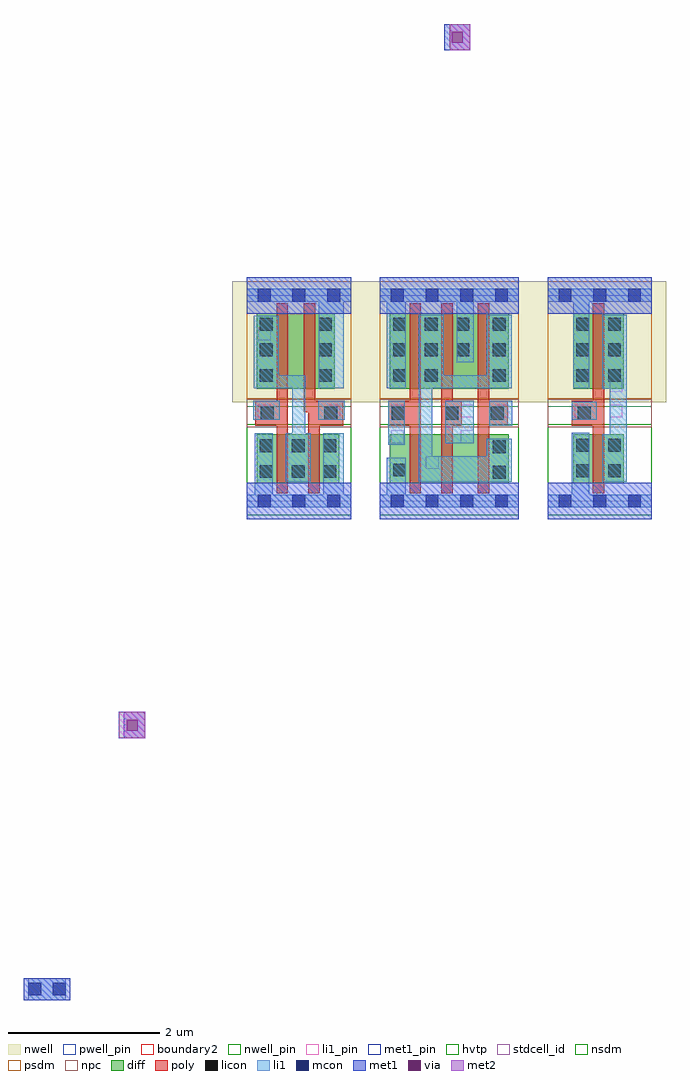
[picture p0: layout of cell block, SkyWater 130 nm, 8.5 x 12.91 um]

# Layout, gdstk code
import gdstk
lib = gdstk.Library(unit=1e-6, precision=1e-09)
def R(c, l, rs):  # rectangles x0, y0, x1, y1
    for r in rs: c.add(gdstk.rectangle(r[:2], r[2:], *l))
def A(c, l, x, y, w, h, nx, ny, dx, dy):  # array of equal rectangles
    R(c, l, [(x+i*dx, y+j*dy, x+i*dx+w, y+j*dy+h) for i in range(nx) for j in range(ny)])
def P(c, l, *ps):  # polygons
    for p in ps: c.add(gdstk.Polygon(p, *l))
nwell_pin = (64, 16)
nwell = (64, 20)
diff = (65, 20)
poly = (66, 20)
licon = (66, 44)
li1_pin = (67, 16)
li1 = (67, 20)
mcon = (67, 44)
met1_pin = (68, 16)
met1 = (68, 20)
via = (68, 44)
met2 = (69, 20)
hvtp = (78, 44)
stdcell_id = (81, 4)
nsdm = (93, 44)
psdm = (94, 20)
npc = (95, 20)
pwell_pin = (122, 16)
boundary2 = (236, 0)

sky130_fd_sc_hd__nor2_1 = lib.new_cell('sky130_fd_sc_hd__nor2_1')
R(sky130_fd_sc_hd__nor2_1, nwell_pin, [(0.15,2.635,0.32,2.805)])
R(sky130_fd_sc_hd__nor2_1, nwell, [(-0.19,1.305,1.57,2.91)])
R(sky130_fd_sc_hd__nor2_1, diff, [(0.135,0.235,1.225,0.885), (0.135,1.485,1.165,2.485)])
P(sky130_fd_sc_hd__nor2_1, poly, [(0.815,0.105),(0.815,1.175),(0.755,1.175),(0.755,2.615),(0.905,2.615),(0.905,1.325),(1.275,1.325),(1.275,0.995),(0.965,0.995),(0.965,0.105)],
  [(0.395,0.105),(0.395,0.995),(0.11,0.995),(0.11,1.325),(0.395,1.325),(0.395,2.615),(0.545,2.615),(0.545,0.105)])
A(sky130_fd_sc_hd__nor2_1, licon, 0.175, 0.305, 0.17, 0.17, 3, 2, 0.42, 0.34)
A(sky130_fd_sc_hd__nor2_1, licon, 0.175, 1.575, 0.17, 0.17, 1, 3, 0, 0.34)
A(sky130_fd_sc_hd__nor2_1, licon, 0.955, 1.575, 0.17, 0.17, 1, 3, 0, 0.34)
R(sky130_fd_sc_hd__nor2_1, licon, [(0.185,1.075,0.355,1.245), (1.025,1.075,1.195,1.245)])
R(sky130_fd_sc_hd__nor2_1, li1_pin, [(0.145,1.105,0.315,1.275), (1.065,1.105,1.235,1.275), (0.15,2.125,0.32,2.295)])
R(sky130_fd_sc_hd__nor2_1, li1, [(0.085,1.075,0.435,1.325), (0.945,1.075,1.295,1.325)])
P(sky130_fd_sc_hd__nor2_1, li1, [(0,-0.085),(0,0.085),(0.105,0.085),(0.105,0.895),(0.345,0.895),(0.345,0.085),(1.015,0.085),(1.015,0.895),(1.285,0.895),(1.285,0.085),(1.38,0.085),(1.38,-0.085)],
  [(0.955,1.495),(0.955,2.635),(0,2.635),(0,2.805),(1.38,2.805),(1.38,2.635),(1.285,2.635),(1.285,1.495)],
  [(0.515,0.255),(0.515,0.895),(0.605,0.895),(0.605,1.495),(0.095,1.495),(0.095,2.45),(0.425,2.45),(0.425,1.665),(0.775,1.665),(0.775,0.895),(0.845,0.895),(0.845,0.255)])
A(sky130_fd_sc_hd__nor2_1, mcon, 0.145, -0.085, 0.17, 0.17, 3, 2, 0.46, 2.72)
R(sky130_fd_sc_hd__nor2_1, met1_pin, [(0.15,-0.085,0.32,0.085), (0.15,2.635,0.32,2.805)])
R(sky130_fd_sc_hd__nor2_1, hvtp, [(0,1.25,1.38,2.72)])
R(sky130_fd_sc_hd__nor2_1, stdcell_id, [(0,0,1.38,2.72)])
R(sky130_fd_sc_hd__nor2_1, nsdm, [(0,-0.19,1.38,1.015)])
R(sky130_fd_sc_hd__nor2_1, psdm, [(0,1.355,1.38,2.91)])
R(sky130_fd_sc_hd__nor2_1, npc, [(0,0.975,1.38,1.345)])
R(sky130_fd_sc_hd__nor2_1, pwell_pin, [(0.15,-0.085,0.32,0.085)])
R(sky130_fd_sc_hd__nor2_1, boundary2, [(0,0,1.38,2.72)])
sky130_fd_sc_hd__nor2_1.add(gdstk.FlexPath([(0,2.72),(1.38,2.72)], 0.48, ends="flush", simple_path=True, layer=68, datatype=20))  # met1
sky130_fd_sc_hd__nor2_1.add(gdstk.FlexPath([(0,0),(1.38,0)], 0.48, ends="flush", simple_path=True, layer=68, datatype=20))  # met1
sky130_fd_sc_hd__nor2_1.add(gdstk.Label('B', (0.23,1.19), layer=67, texttype=5))
sky130_fd_sc_hd__nor2_1.add(gdstk.Label('Y', (0.235,2.21), layer=67, texttype=5))
sky130_fd_sc_hd__nor2_1.add(gdstk.Label('A', (1.15,1.19), layer=67, texttype=5))
sky130_fd_sc_hd__nor2_1.add(gdstk.Label('VPB', (0.235,2.72), layer=64, texttype=5))
sky130_fd_sc_hd__nor2_1.add(gdstk.Label('VNB', (0.235,0), layer=64, texttype=59))
sky130_fd_sc_hd__nor2_1.add(gdstk.Label('VGND', (0.23,0), layer=68, texttype=5))
sky130_fd_sc_hd__nor2_1.add(gdstk.Label('VPWR', (0.23,2.72), layer=68, texttype=5))
sky130_fd_sc_hd__nor2_1.add(gdstk.Label('nor2_1', (0,0), layer=83, texttype=44))

sky130_fd_sc_hd__nand3_1 = lib.new_cell('sky130_fd_sc_hd__nand3_1')
R(sky130_fd_sc_hd__nand3_1, nwell_pin, [(0.15,2.635,0.32,2.805)])
R(sky130_fd_sc_hd__nand3_1, nwell, [(-0.19,1.305,2.03,2.91)])
R(sky130_fd_sc_hd__nand3_1, diff, [(0.135,0.235,1.705,0.885), (0.135,1.485,1.705,2.485)])
P(sky130_fd_sc_hd__nand3_1, poly, [(1.295,0.105),(1.295,2.615),(1.445,2.615),(1.445,1.325),(1.69,1.325),(1.69,0.995),(1.445,0.995),(1.445,0.105)],
  [(0.815,0.105),(0.815,2.615),(0.965,2.615),(0.965,1.325),(1.085,1.325),(1.085,0.995),(0.965,0.995),(0.965,0.105)],
  [(0.395,0.105),(0.395,0.995),(0.11,0.995),(0.11,1.325),(0.395,1.325),(0.395,2.615),(0.545,2.615),(0.545,0.105)])
A(sky130_fd_sc_hd__nand3_1, licon, 1.495, 1.575, 0.17, 0.17, 1, 3, 0, 0.34)
A(sky130_fd_sc_hd__nand3_1, licon, 0.175, 1.915, 0.17, 0.17, 3, 2, 0.42, 0.34)
R(sky130_fd_sc_hd__nand3_1, licon, [(1.495,0.295,1.665,0.465), (0.175,0.325,0.345,0.495), (1.495,0.635,1.665,0.805), (0.16,1.075,0.33,1.245), (0.865,1.075,1.035,1.245), (1.47,1.075,1.64,1.245), (0.175,1.575,0.345,1.745), (0.595,1.575,0.765,1.745)])
R(sky130_fd_sc_hd__nand3_1, li1_pin, [(0.61,0.425,0.78,0.595), (0.15,0.765,0.32,0.935), (1.07,0.765,1.24,0.935), (0.15,1.105,0.32,1.275), (1.07,1.105,1.24,1.275), (1.53,1.105,1.7,1.275)])
R(sky130_fd_sc_hd__nand3_1, li1, [(0.11,0.745,0.33,1.325), (0.865,0.765,1.24,1.325), (1.445,0.995,1.755,1.325)])
P(sky130_fd_sc_hd__nand3_1, li1, [(0.09,1.495),(0.09,2.635),(0,2.635),(0,2.805),(1.84,2.805),(1.84,2.635),(1.245,2.635),(1.245,1.835),(1.015,1.835),(1.015,2.635),(0.345,2.635),(0.345,1.495)],
  [(0,-0.085),(0,0.085),(0.09,0.085),(0.09,0.575),(0.345,0.575),(0.345,0.085),(1.84,0.085),(1.84,-0.085)],
  [(0.515,0.255),(0.515,2.465),(0.845,2.465),(0.845,1.665),(1.415,1.665),(1.415,2.465),(1.745,2.465),(1.745,1.495),(0.695,1.495),(0.695,0.595),(1.415,0.595),(1.415,0.825),(1.745,0.825),(1.745,0.255)])
A(sky130_fd_sc_hd__nand3_1, mcon, 0.145, -0.085, 0.17, 0.17, 4, 2, 0.46, 2.72)
R(sky130_fd_sc_hd__nand3_1, met1_pin, [(0.15,-0.085,0.32,0.085), (0.15,2.635,0.32,2.805)])
R(sky130_fd_sc_hd__nand3_1, hvtp, [(0,1.25,1.84,2.72)])
R(sky130_fd_sc_hd__nand3_1, stdcell_id, [(0,0,1.84,2.72)])
R(sky130_fd_sc_hd__nand3_1, nsdm, [(0,-0.19,1.84,1.015)])
R(sky130_fd_sc_hd__nand3_1, psdm, [(0,1.355,1.84,2.91)])
R(sky130_fd_sc_hd__nand3_1, npc, [(0,0.975,1.84,1.345)])
R(sky130_fd_sc_hd__nand3_1, pwell_pin, [(0.15,-0.085,0.32,0.085)])
R(sky130_fd_sc_hd__nand3_1, boundary2, [(0,0,1.84,2.72)])
sky130_fd_sc_hd__nand3_1.add(gdstk.FlexPath([(0,2.72),(1.84,2.72)], 0.48, ends="flush", simple_path=True, layer=68, datatype=20))  # met1
sky130_fd_sc_hd__nand3_1.add(gdstk.FlexPath([(0,0),(1.84,0)], 0.48, ends="flush", simple_path=True, layer=68, datatype=20))  # met1
sky130_fd_sc_hd__nand3_1.add(gdstk.Label('Y', (0.695,0.51), layer=67, texttype=5))
sky130_fd_sc_hd__nand3_1.add(gdstk.Label('A', (1.615,1.19), layer=67, texttype=5))
sky130_fd_sc_hd__nand3_1.add(gdstk.Label('C', (0.235,1.19), layer=67, texttype=5))
sky130_fd_sc_hd__nand3_1.add(gdstk.Label('B', (1.155,1.19), layer=67, texttype=5))
sky130_fd_sc_hd__nand3_1.add(gdstk.Label('VPB', (0.235,2.72), layer=64, texttype=5))
sky130_fd_sc_hd__nand3_1.add(gdstk.Label('VNB', (0.235,0), layer=64, texttype=59))
sky130_fd_sc_hd__nand3_1.add(gdstk.Label('VGND', (0.235,0), layer=68, texttype=5))
sky130_fd_sc_hd__nand3_1.add(gdstk.Label('VPWR', (0.235,2.72), layer=68, texttype=5))
sky130_fd_sc_hd__nand3_1.add(gdstk.Label('nand3_1', (0,0), layer=83, texttype=44))

sky130_fd_sc_hd__inv_1 = lib.new_cell('sky130_fd_sc_hd__inv_1')
R(sky130_fd_sc_hd__inv_1, nwell_pin, [(0.145,2.635,0.315,2.805), (0.145,2.635,0.315,2.805)])
R(sky130_fd_sc_hd__inv_1, nwell, [(-0.19,1.305,1.57,2.91)])
R(sky130_fd_sc_hd__inv_1, diff, [(0.34,0.235,1.01,0.885), (0.34,1.485,1.01,2.485)])
P(sky130_fd_sc_hd__inv_1, poly, [(0.6,0.105),(0.6,0.995),(0.32,0.995),(0.32,1.325),(0.6,1.325),(0.6,2.615),(0.75,2.615),(0.75,0.105)])
A(sky130_fd_sc_hd__inv_1, licon, 0.38, 1.575, 0.17, 0.17, 1, 3, 0, 0.34)
A(sky130_fd_sc_hd__inv_1, licon, 0.8, 1.575, 0.17, 0.17, 1, 3, 0, 0.34)
R(sky130_fd_sc_hd__inv_1, licon, [(0.38,0.315,0.55,0.485), (0.8,0.315,0.97,0.485), (0.38,0.655,0.55,0.825), (0.8,0.655,0.97,0.825), (0.4,1.075,0.57,1.245)])
R(sky130_fd_sc_hd__inv_1, li1_pin, [(0.36,1.105,0.53,1.275), (0.82,1.105,0.99,1.275), (0.82,1.445,0.99,1.615)])
R(sky130_fd_sc_hd__inv_1, li1, [(0,-0.085,1.38,0.085), (0.32,0.005,0.55,0.905), (0.32,1.075,0.65,1.315), (0.34,1.495,0.55,2.675), (0,2.635,1.38,2.805)])
P(sky130_fd_sc_hd__inv_1, li1, [(0.72,0.255),(0.72,0.885),(0.82,0.885),(0.82,1.485),(0.72,1.485),(0.72,2.465),(1.05,2.465),(1.05,0.255)])
A(sky130_fd_sc_hd__inv_1, mcon, 0.145, -0.085, 0.17, 0.17, 3, 2, 0.46, 2.72)
R(sky130_fd_sc_hd__inv_1, met1_pin, [(0.145,-0.085,0.315,0.085), (0.145,-0.085,0.315,0.085), (0.145,2.635,0.315,2.805), (0.145,2.635,0.315,2.805)])
R(sky130_fd_sc_hd__inv_1, hvtp, [(0,1.25,1.38,2.72)])
R(sky130_fd_sc_hd__inv_1, stdcell_id, [(0,0,1.38,2.72)])
R(sky130_fd_sc_hd__inv_1, nsdm, [(0,-0.19,1.38,1.015)])
R(sky130_fd_sc_hd__inv_1, psdm, [(0,1.355,1.38,2.91)])
R(sky130_fd_sc_hd__inv_1, npc, [(0,0.975,1.38,1.345)])
R(sky130_fd_sc_hd__inv_1, pwell_pin, [(0.145,-0.085,0.315,0.085), (0.145,-0.085,0.315,0.085)])
R(sky130_fd_sc_hd__inv_1, boundary2, [(0,0,1.38,2.72)])
sky130_fd_sc_hd__inv_1.add(gdstk.FlexPath([(0,2.72),(1.38,2.72)], 0.48, ends="flush", simple_path=True, layer=68, datatype=20))  # met1
sky130_fd_sc_hd__inv_1.add(gdstk.FlexPath([(0,0),(1.38,0)], 0.48, ends="flush", simple_path=True, layer=68, datatype=20))  # met1
sky130_fd_sc_hd__inv_1.add(gdstk.Label('Y', (0.905,1.53), layer=67, texttype=5))
sky130_fd_sc_hd__inv_1.add(gdstk.Label('Y', (0.905,1.19), layer=67, texttype=5))
sky130_fd_sc_hd__inv_1.add(gdstk.Label('A', (0.445,1.19), layer=67, texttype=5))
sky130_fd_sc_hd__inv_1.add(gdstk.Label('VPB', (0.23,2.72), layer=64, texttype=5))
sky130_fd_sc_hd__inv_1.add(gdstk.Label('VNB', (0.23,0), layer=64, texttype=59))
sky130_fd_sc_hd__inv_1.add(gdstk.Label('VGND', (0.23,0), layer=68, texttype=5))
sky130_fd_sc_hd__inv_1.add(gdstk.Label('VPWR', (0.23,2.72), layer=68, texttype=5))
sky130_fd_sc_hd__inv_1.add(gdstk.Label('inv_1', (0,0), layer=83, texttype=44))

block = lib.new_cell('block')
R(block, li1, [(-2.89,-6.6,-2.395,-6.31)])
R(block, mcon, [(-2.89,-6.54,-2.72,-6.37), (-2.565,-6.54,-2.395,-6.37)])
R(block, met1, [(-2.95,-6.6,-2.335,-6.31), (-1.625,-3.14,-1.34,-2.79), (2.61,5.96,2.96,6.31)])
R(block, via, [(-1.59,-3.04,-1.44,-2.89), (2.71,6.06,2.86,6.21)])
R(block, met2, [(-1.69,-3.14,-1.34,-2.79), (2.685,5.96,2.96,6.31)])
block.add(gdstk.Reference(sky130_fd_sc_hd__nor2_1, (0,0)))
block.add(gdstk.Reference(sky130_fd_sc_hd__nand3_1, (1.76,0)))
block.add(gdstk.Reference(sky130_fd_sc_hd__inv_1, (3.98,0)))

lib.write_gds('block.gds')
